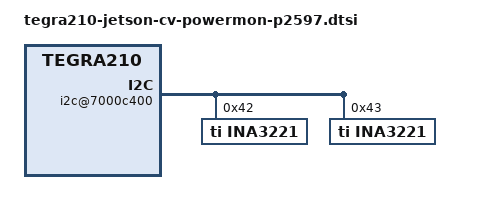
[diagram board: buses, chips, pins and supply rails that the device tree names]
/*
 * Copyright (c) 2015, NVIDIA CORPORATION.  All rights reserved.
 *
 * This program is free software; you can redistribute it and/or modify
 * it under the terms of the GNU General Public License as published by
 * the Free Software Foundation; either version 2 of the License, or
 * (at your option) any later version.
 *
 * This program is distributed in the hope that it will be useful, but WITHOUT
 * ANY WARRANTY; without even the implied warranty of MERCHANTABILITY or
 * FITNESS FOR A PARTICULAR PURPOSE.  See the GNU General Public License for
 * more details.
 *
 * You should have received a copy of the GNU General Public License along
 * along with this program. If not, see <http://www.gnu.org/licenses/>.
 */

/ {
	i2c@7000c400 {
		ina3221@42 {
			compatible = "ti,ina3221";
			reg = <0x42>;
			#io-channel-cells = <1>;
			#address-cells = <1>;
			#size-cells = <0>;
			status = "okay";

			channel@0 {
				reg = <0x0>;
				label = "VDD_MUX";
				shunt-resistor-micro-ohms = <20000>;
			};

			channel@1 {
				reg = <0x1>;
				label = "VDD_5V_IO_SYS";
				shunt-resistor-micro-ohms = <5000>;
			};

			channel@2 {
				reg = <0x2>;
				label = "VDD_3V3_SYS";
				shunt-resistor-micro-ohms = <10000>;
			};
		};
		ina3221@43 {
			compatible = "ti,ina3221";
			reg = <0x43>;
			#io-channel-cells = <1>;
			#address-cells = <1>;
			#size-cells = <0>;
			status = "okay";

			channel@0 {
				reg = <0x0>;
				label = "VDD_3V3_IO";
				shunt-resistor-micro-ohms = <10000>;
			};

			channel@1 {
				reg = <0x1>;
				label = "VDD_1V8_IO";
				shunt-resistor-micro-ohms = <10000>;
			};

			channel@2 {
				reg = <0x2>;
				label = "VDD_M2_IN";
				shunt-resistor-micro-ohms = <10000>;
			};
		};
	};
};
